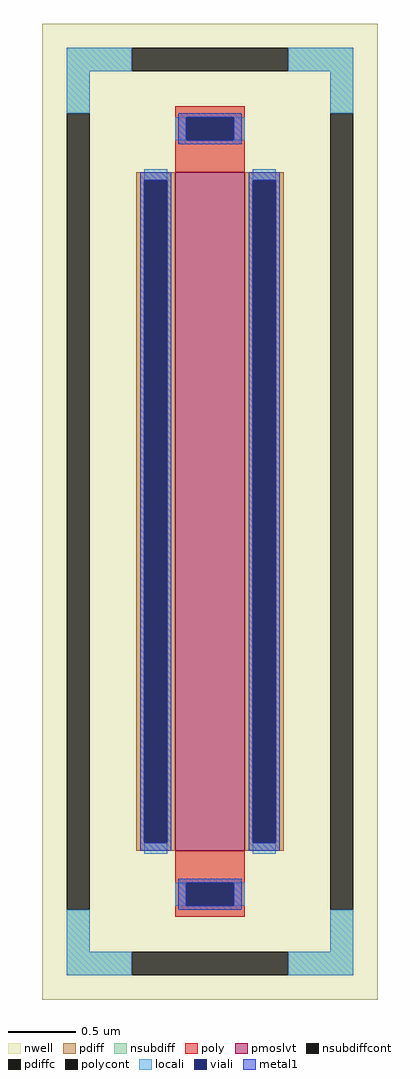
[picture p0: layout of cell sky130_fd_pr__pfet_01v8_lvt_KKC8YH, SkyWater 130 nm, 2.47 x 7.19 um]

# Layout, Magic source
magic
tech sky130A
magscale 1 2
<< nwell >>
rect -247 -719 247 719
<< pmoslvt >>
rect -51 -500 51 500
<< pdiff >>
rect -109 488 -51 500
rect -109 -488 -97 488
rect -63 -488 -51 488
rect -109 -500 -51 -488
rect 51 488 109 500
rect 51 -488 63 488
rect 97 -488 109 488
rect 51 -500 109 -488
<< pdiffc >>
rect -97 -488 -63 488
rect 63 -488 97 488
<< nsubdiff >>
rect -211 649 -115 683
rect 115 649 211 683
rect -211 587 -177 649
rect 177 587 211 649
rect -211 -649 -177 -587
rect 177 -649 211 -587
rect -211 -683 -115 -649
rect 115 -683 211 -649
<< nsubdiffcont >>
rect -115 649 115 683
rect -211 -587 -177 587
rect 177 -587 211 587
rect -115 -683 115 -649
<< poly >>
rect -51 581 51 597
rect -51 547 -35 581
rect 35 547 51 581
rect -51 500 51 547
rect -51 -547 51 -500
rect -51 -581 -35 -547
rect 35 -581 51 -547
rect -51 -597 51 -581
<< polycont >>
rect -35 547 35 581
rect -35 -581 35 -547
<< locali >>
rect -211 649 -115 683
rect 115 649 211 683
rect -211 587 -177 649
rect 177 587 211 649
rect -51 547 -35 581
rect 35 547 51 581
rect -97 488 -63 504
rect -97 -504 -63 -488
rect 63 488 97 504
rect 63 -504 97 -488
rect -51 -581 -35 -547
rect 35 -581 51 -547
rect -211 -649 -177 -587
rect 177 -649 211 -587
rect -211 -683 -115 -649
rect 115 -683 211 -649
<< viali >>
rect -35 547 35 581
rect -97 -488 -63 488
rect 63 -488 97 488
rect -35 -581 35 -547
<< metal1 >>
rect -47 581 47 587
rect -47 547 -35 581
rect 35 547 47 581
rect -47 541 47 547
rect -103 488 -57 500
rect -103 -488 -97 488
rect -63 -488 -57 488
rect -103 -500 -57 -488
rect 57 488 103 500
rect 57 -488 63 488
rect 97 -488 103 488
rect 57 -500 103 -488
rect -47 -547 47 -541
rect -47 -581 -35 -547
rect 35 -581 47 -547
rect -47 -587 47 -581
<< properties >>
string FIXED_BBOX -194 -666 194 666
string gencell sky130_fd_pr__pfet_01v8_lvt
string library sky130
string parameters w 5 l 0.505 m 1 nf 1 diffcov 100 polycov 100 guard 1 glc 1 grc 1 gtc 1 gbc 1 tbcov 100 rlcov 100 topc 1 botc 1 poverlap 0 doverlap 1 lmin 0.35 wmin 0.42 compatible {sky130_fd_pr__pfet_01v8  sky130_fd_pr__pfet_01v8_lvt sky130_fd_pr__pfet_01v8_hvt  sky130_fd_pr__pfet_g5v0d10v5} full_metal 1 viasrc 100 viadrn 100 viagate 100 viagb 0 viagr 0 viagl 0 viagt 0
<< end >>
